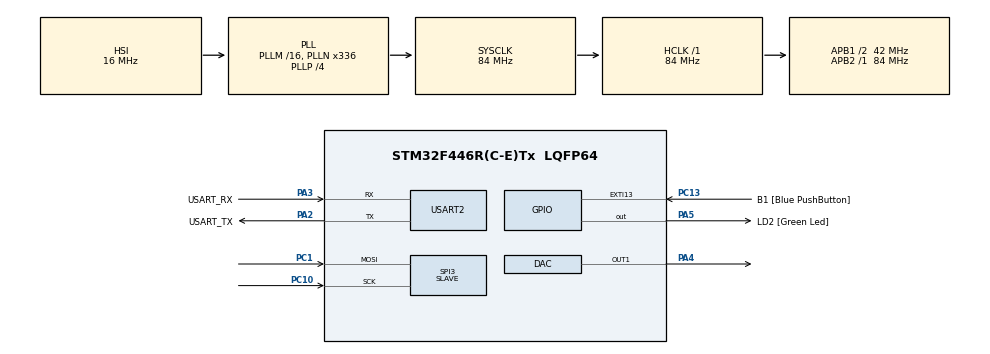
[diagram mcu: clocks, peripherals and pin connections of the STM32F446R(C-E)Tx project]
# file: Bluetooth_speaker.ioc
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Dma.DAC1.0.Direction=DMA_MEMORY_TO_PERIPH
Dma.DAC1.0.FIFOMode=DMA_FIFOMODE_DISABLE
Dma.DAC1.0.Instance=DMA1_Stream5
Dma.DAC1.0.MemDataAlignment=DMA_MDATAALIGN_HALFWORD
Dma.DAC1.0.MemInc=DMA_MINC_ENABLE
Dma.DAC1.0.Mode=DMA_NORMAL
Dma.DAC1.0.PeriphDataAlignment=DMA_PDATAALIGN_HALFWORD
Dma.DAC1.0.PeriphInc=DMA_PINC_DISABLE
Dma.DAC1.0.Priority=DMA_PRIORITY_LOW
Dma.Request0=DAC1
Dma.Request1=SPI3_RX
Dma.SPI3_RX.1.Direction=DMA_PERIPH_TO_MEMORY
Dma.SPI3_RX.1.FIFOMode=DMA_FIFOMODE_DISABLE
Dma.SPI3_RX.1.Instance=DMA1_Stream0
Dma.SPI3_RX.1.MemDataAlignment=DMA_MDATAALIGN_BYTE
Dma.SPI3_RX.1.MemInc=DMA_MINC_ENABLE
Dma.SPI3_RX.1.Mode=DMA_CIRCULAR
Dma.SPI3_RX.1.PeriphDataAlignment=DMA_PDATAALIGN_BYTE
Dma.SPI3_RX.1.PeriphInc=DMA_PINC_DISABLE
Dma.SPI3_RX.1.Priority=DMA_PRIORITY_LOW
Mcu.Family=STM32F4
Mcu.Name=STM32F446R(C-E)Tx
Mcu.Package=LQFP64
NVIC.DMA1_Stream0_IRQn=true\:0\:0\:false\:false\:true\:false\:true\:true
NVIC.DMA1_Stream5_IRQn=true\:0\:0\:false\:false\:true\:false\:true\:true
NVIC.PriorityGroup=NVIC_PRIORITYGROUP_0
NVIC.SPI3_IRQn=true\:0\:0\:false\:false\:true\:true\:true\:true
NVIC.TIM6_DAC_IRQn=true\:0\:0\:false\:false\:true\:true\:true\:true
PA13.GPIO_Label=TMS
PA13.Mode=Serial_Wire
PA13.Signal=SYS_JTMS-SWDIO
PA14.GPIO_Label=TCK
PA14.Mode=Serial_Wire
PA14.Signal=SYS_JTCK-SWCLK
PA2.GPIO_Label=USART_TX
PA2.Mode=Asynchronous
PA2.Signal=USART2_TX
PA3.GPIO_Label=USART_RX
PA3.Mode=Asynchronous
PA3.Signal=USART2_RX
PA4.Signal=COMP_DAC1_group
PA5.GPIO_Label=LD2 [Green Led]
PA5.Signal=GPIO_Output
PB3.GPIO_Label=SWO
PB3.Signal=SYS_JTDO-SWO
PC1.Mode=RX_Only_Simplex_Unidirect_Slave
PC1.Signal=SPI3_MOSI
PC10.Mode=RX_Only_Simplex_Unidirect_Slave
PC10.Signal=SPI3_SCK
PC13.GPIO_Label=B1 [Blue PushButton]
PC13.GPIO_ModeDefaultEXTI=GPIO_MODE_IT_FALLING
PC13.Signal=GPXTI13
PC14-OSC32_IN.Mode=LSE-External-Oscillator
PC14-OSC32_IN.Signal=RCC_OSC32_IN
PC15-OSC32_OUT.Mode=LSE-External-Oscillator
PC15-OSC32_OUT.Signal=RCC_OSC32_OUT
PH0-OSC_IN.Mode=HSE-External-Oscillator
PH0-OSC_IN.Signal=RCC_OSC_IN
PH1-OSC_OUT.Mode=HSE-External-Oscillator
PH1-OSC_OUT.Signal=RCC_OSC_OUT
ProjectManager.HeapSize=0x200
ProjectManager.StackSize=0x400
ProjectManager.TargetToolchain=STM32CubeIDE
RCC.48MHZClocksFreq_Value=84000000
RCC.AHBFreq_Value=84000000
RCC.APB1CLKDivider=RCC_HCLK_DIV2
RCC.APB1Freq_Value=42000000
RCC.APB1TimFreq_Value=84000000
RCC.APB2Freq_Value=84000000
RCC.APB2TimFreq_Value=84000000
RCC.CortexFreq_Value=84000000
RCC.FLatency-AdvancedSettings=FLASH_LATENCY_2
RCC.HCLKFreq_Value=84000000
RCC.HSE_VALUE=8000000
RCC.HSI_VALUE=16000000
RCC.PLLN=336
RCC.PLLP=RCC_PLLP_DIV4
RCC.SYSCLKFreq_VALUE=84000000
RCC.SYSCLKSource=RCC_SYSCLKSOURCE_PLLCLK
RCC.USBFreq_Value=168000000
RCC.VCOOutputFreq_Value=336000000
SH.COMP_DAC1_group.0=DAC_OUT1,DAC_OUT1
SPI3.Direction=SPI_DIRECTION_2LINES_RXONLY
SPI3.Mode=SPI_MODE_SLAVE
SPI3.VirtualType=VM_SLAVE
USART2.VirtualMode=VM_ASYNC
VP_TIM6_VS_ClockSourceINT.Mode=Enable_Timer
board=NUCLEO-F446RE

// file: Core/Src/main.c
/* USER CODE BEGIN Header */
/**
  ******************************************************************************
  * @file           : main.c
  * @brief          : Main program body
  ******************************************************************************
  * @attention
  *
  * Copyright (c) 2025 STMicroelectronics.
  * All rights reserved.
  *
  * This software is licensed under terms that can be found in the LICENSE file
  * in the root directory of this software component.
  * If no LICENSE file comes with this software, it is provided AS-IS.
  *
  ******************************************************************************
  */
/* USER CODE END Header */
#include "main.h"
#include "dac.h"
#include "dma.h"
#include "spi.h"
#include "tim.h"
#include "usart.h"
#include "gpio.h"

/* USER CODE BEGIN PV */
/* USER CODE BEGIN PV */
// --- AUDIO BUFFER CONFIGURATION ---
#define BUFFER_SIZE 8192      // 8KB Buffer (approx 0.2 sec audio)
uint8_t rx_buffer[BUFFER_SIZE]; // Tank to store audio from ESP32

// Pointers to track playback
volatile uint16_t read_ptr = 0;  // Position we are playing to Speaker
volatile uint16_t write_ptr = 0; // Position DMA is writing from ESP32
/* USER CODE END PV */
/* USER CODE END PV */

void SystemClock_Config(void);

int main(void)
{

  /* MCU Configuration--------------------------------------------------------*/

  /* Reset of all peripherals, Initializes the Flash interface and the Systick. */
  HAL_Init();

  /* Configure the system clock */
  SystemClock_Config();

  /* Initialize all configured peripherals */
  MX_GPIO_Init();
  MX_DMA_Init();
  MX_USART2_UART_Init();
  MX_DAC_Init();
  MX_TIM6_Init();
  MX_SPI3_Init();
  /* USER CODE BEGIN 2 */
  /* USER CODE BEGIN 2 */

    // --- 1. START THE METRONOME (Timer 6) ---
    // Starts the 44.1kHz heartbeat interrupt
    HAL_TIM_Base_Start_IT(&htim6);

    // --- 2. START THE VOICE (DAC) ---
    // Enables DAC Channel 1 (PA4)
    HAL_DAC_Start(&hdac, DAC_CHANNEL_1);

    // --- 3. OPEN THE GATES (SPI3 + DMA) ---
    // Starts receiving data into rx_buffer in CIRCULAR mode.
    // NOTE: We use &hspi3 now (not hspi1)
    HAL_SPI_Receive_DMA(&hspi3, rx_buffer, BUFFER_SIZE);

    // --- 4. INITIAL HANDSHAKE ---
    // Tell ESP32 "I am ready, send data!" (High)
    HAL_GPIO_WritePin(GPIOA, GPIO_PIN_3, GPIO_PIN_SET);

    /* USER CODE END 2 */

  /* USER CODE END 2 */

  /* Infinite loop */
  while (1)
  {
	  /* USER CODE END WHILE */

	      /* USER CODE BEGIN 3 */
	      // --- CALCULATE BUFFER STATUS ---
	      // DMA Counter counts DOWN (Remaining bytes).
	      // So: Total Size - Remaining = How much is written.
	      write_ptr = BUFFER_SIZE - __HAL_DMA_GET_COUNTER(hspi3.hdmarx);

	      // Calculate distance between Write and Read pointers
	      int16_t distance = write_ptr - read_ptr;

	      // Handle "Wrap Around" (e.g., Write is at 10, Read is at 8000)
	      if (distance < 0) {
	          distance += BUFFER_SIZE;
	      }

	      // --- TRAFFIC POLICE (Handshake) ---
	      // If buffer is getting too FULL (> 80%), tell ESP32 to PAUSE.
	      if (distance > (BUFFER_SIZE * 0.8)) {
	          HAL_GPIO_WritePin(GPIOA, GPIO_PIN_3, GPIO_PIN_RESET);
	      }
	      // If buffer has space again (< 40%), tell ESP32 to RESUME.
	      else if (distance < (BUFFER_SIZE * 0.4)) {
	          HAL_GPIO_WritePin(GPIOA, GPIO_PIN_3, GPIO_PIN_SET);
	      }

	      // Small delay to save power, logic doesn't need to run at MHz speeds
	      HAL_Delay(1);

    /* USER CODE BEGIN 3 */
  }
  /* USER CODE END 3 */
}

void SystemClock_Config(void)
{
  RCC_OscInitTypeDef RCC_OscInitStruct = {0};
  RCC_ClkInitTypeDef RCC_ClkInitStruct = {0};

  /** Configure the main internal regulator output voltage
  */
  __HAL_RCC_PWR_CLK_ENABLE();
  __HAL_PWR_VOLTAGESCALING_CONFIG(PWR_REGULATOR_VOLTAGE_SCALE3);

  /** Initializes the RCC Oscillators according to the specified parameters
  * in the RCC_OscInitTypeDef structure.
  */
  RCC_OscInitStruct.OscillatorType = RCC_OSCILLATORTYPE_HSI;
  RCC_OscInitStruct.HSIState = RCC_HSI_ON;
  RCC_OscInitStruct.HSICalibrationValue = RCC_HSICALIBRATION_DEFAULT;
  RCC_OscInitStruct.PLL.PLLState = RCC_PLL_ON;
  RCC_OscInitStruct.PLL.PLLSource = RCC_PLLSOURCE_HSI;
  RCC_OscInitStruct.PLL.PLLM = 16;
  RCC_OscInitStruct.PLL.PLLN = 336;
  RCC_OscInitStruct.PLL.PLLP = RCC_PLLP_DIV4;
  RCC_OscInitStruct.PLL.PLLQ = 2;
  RCC_OscInitStruct.PLL.PLLR = 2;
  if (HAL_RCC_OscConfig(&RCC_OscInitStruct) != HAL_OK)
  {
    Error_Handler();
  }

  /** Initializes the CPU, AHB and APB buses clocks
  */
  RCC_ClkInitStruct.ClockType = RCC_CLOCKTYPE_HCLK|RCC_CLOCKTYPE_SYSCLK
                              |RCC_CLOCKTYPE_PCLK1|RCC_CLOCKTYPE_PCLK2;
  RCC_ClkInitStruct.SYSCLKSource = RCC_SYSCLKSOURCE_PLLCLK;
  RCC_ClkInitStruct.AHBCLKDivider = RCC_SYSCLK_DIV1;
  RCC_ClkInitStruct.APB1CLKDivider = RCC_HCLK_DIV2;
  RCC_ClkInitStruct.APB2CLKDivider = RCC_HCLK_DIV1;

  if (HAL_RCC_ClockConfig(&RCC_ClkInitStruct, FLASH_LATENCY_2) != HAL_OK)
  {
    Error_Handler();
  }
}

/* USER CODE BEGIN 4 */
// This Interrupt runs exactly 44,100 times per second (controlled by TIM6)
void HAL_TIM_PeriodElapsedCallback(TIM_HandleTypeDef *htim)
{
  // Check if it is Timer 6 calling us
  if (htim->Instance == TIM6)
  {
    // 1. Get the current audio byte
    uint8_t sample = rx_buffer[read_ptr];

    // 2. Scale 8-bit (0-255) to 12-bit (0-4095) for STM32 DAC
    // Simple Math: Multiply by 16 (or Left Shift by 4)
    uint16_t dac_value = (uint16_t)sample << 4;

    // 3. Send to DAC Register (Plays the sound!)
    HAL_DAC_SetValue(&hdac, DAC_CHANNEL_1, DAC_ALIGN_12B_R, dac_value);

    // 4. Advance the Read Pointer
    read_ptr++;

    // 5. Wrap around if we hit the end of the buffer
    if (read_ptr >= BUFFER_SIZE) {
        read_ptr = 0;
    }
  }
}

/* USER CODE END 4 */

void Error_Handler(void)
{
  __disable_irq();
  while (1)
  {
  }
}
